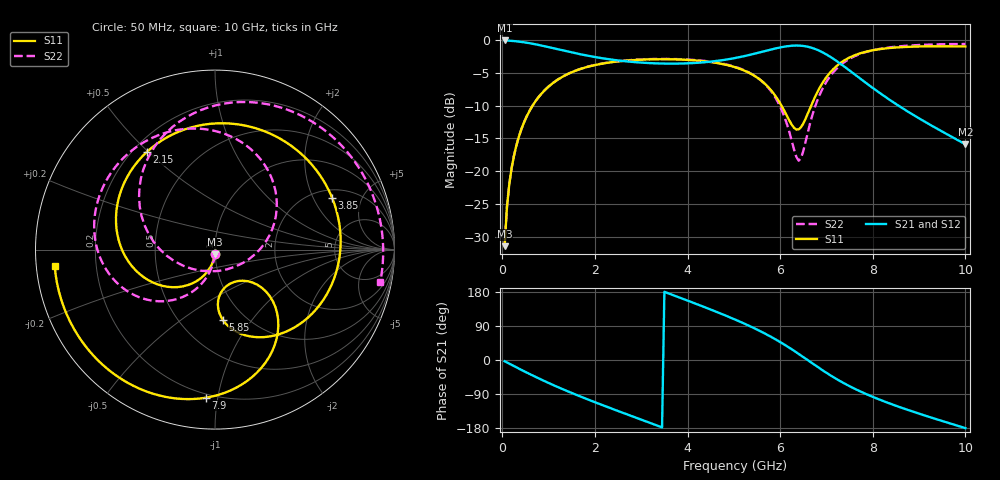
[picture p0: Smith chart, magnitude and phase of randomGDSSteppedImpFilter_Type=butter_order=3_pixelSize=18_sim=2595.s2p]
! freq	dB(S11)	phase(S11)	dB(S12)	phase(S12)
!  dB(S21)	phase(S21)	dB(S22)	phase(S22)
!S-par simulation data
#  GHz  S  DB  R 50
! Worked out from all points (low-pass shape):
!   200 points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, 50 MHz to 10 GHz, reference 50 ohm
!   highest |S21| = -0.01 dB at 50 MHz (marker M1); lowest = -15.9 dB at 10 GHz (marker M2)
!   |S21| within 3 dB of the highest: start of sweep to 2.438 GHz; 4.766 GHz to 7.19 GHz (2.424 GHz wide, 40.5 % of centre)
!   lowest |S11| = -31.5 dB at 50 MHz (marker M3), VSWR 1.05, Z = 49.8 - j2.66 ohm
!   |S11| at or under -10 dB: start of sweep to 652.6 MHz; 6.03 GHz to 6.667 GHz (636.6 MHz wide, 10 % of centre)
!   |S22| runs from -31.4 to -0.6 dB; largest |S21 - S12| = 0
!   S11 on the Smith chart (normalised r, x): 50 MHz: 1.00, -0.05; 2.15 GHz: 0.25, +0.49; 3.85 GHz: 2.42, +2.83; 5.85 GHz: 0.79, -0.74; 7.9 GHz: 0.18, -0.93; 10 GHz: 0.05, -0.05
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0.05  -31.46 -92.9  -0.01 -3.2  -0.01 -3.2  -31.45 -91.8
0.1  -25.51 -97.4  -0.03 -6.4  -0.03 -6.4  -25.49 -95.1
0.2  -19.59 -105.3  -0.07 -12.8  -0.07 -12.8  -19.58 -100.9
0.5  -12.04 -127.6  -0.33 -31.5  -0.33 -31.5  -12.02 -116.5
1.05  -6.76 -165.8  -1.12 -63.4  -1.12 -63.4  -6.75 -142.1
1.75  -4.23 149.5  -2.21 -99.4  -2.21 -99.4  -4.21 -169.5
2.15  -3.57 125.1  -2.72 -118.4  -2.72 -118.4  -3.54 176.9
2.8  -3.03 86.1  -3.29 -148.3  -3.29 -148.3  -2.99 156.3
3.4  -2.88 50.3  -3.53 -175.6  -3.53 -175.6  -2.83 137.9
3.85  -2.93 23.7  -3.54 163.8  -3.54 163.8  -2.88 123.7
4.4  -3.22 -8.1  -3.32 138.0  -3.32 138.0  -3.17 104.9
5.05  -4.15 -44.3  -2.67 105.5  -2.67 105.5  -4.10 78.3
5.85  -8.04 -83.4  -1.32 58.0  -1.32 58.0  -8.23 29.0
6.4  -13.61 -60.4  -0.79 16.1  -0.79 16.1  -18.39 -81.3
6.7  -9.46 -39.2  -1.18 -9.3  -1.18 -9.3  -11.33 -172.8
6.95  -6.12 -45.6  -1.96 -29.9  -1.96 -29.9  -6.93 155.4
7.2  -4.04 -58.0  -3.06 -49.0  -3.06 -49.0  -4.46 131.9
7.55  -2.45 -76.5  -4.88 -72.3  -4.88 -72.3  -2.62 105.6
7.9  -1.66 -93.4  -6.75 -92.1  -6.75 -92.1  -1.69 83.8
8.35  -1.18 -112.8  -9.02 -114.1  -9.02 -114.1  -1.08 60.0
9.15  -0.92 -143.3  -12.54 -147.6  -12.54 -147.6  -0.66 23.7
10  -0.94 -174.0  -15.89 -179.8  -15.89 -179.8  -0.55 -11.0
